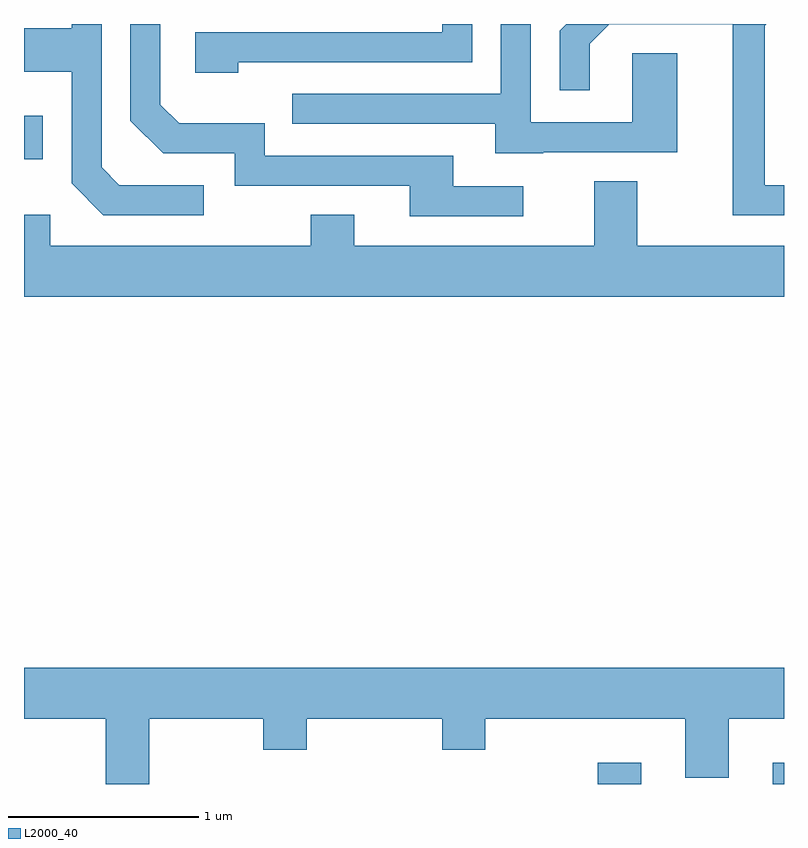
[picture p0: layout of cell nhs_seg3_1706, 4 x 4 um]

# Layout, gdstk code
import gdstk
lib = gdstk.Library(unit=1e-6, precision=1e-09)
def R(c, l, rs):  # rectangles x0, y0, x1, y1
    for r in rs: c.add(gdstk.rectangle(r[:2], r[2:], *l))
def P(c, l, *ps):  # polygons
    for p in ps: c.add(gdstk.Polygon(p, *l))
L2000_40 = (2000, 40)

nhs_seg3_1706 = lib.new_cell('nhs_seg3_1706')
R(nhs_seg3_1706, L2000_40, [(238.631,1127.892,238.859,1128.004), (239.551,1127.892,239.611,1128.004), (235.611,1131.181,235.709,1131.409)])
P(nhs_seg3_1706, L2000_40, [(238.238,1131.039),(237.869,1131.039),(237.869,1131.199),(236.879,1131.199),(236.879,1131.369),(236.427,1131.369),(236.329,1131.467),(236.329,1131.892),(236.171,1131.892),(236.171,1131.384),(236.344,1131.211),(236.721,1131.211),(236.721,1131.041),(237.641,1131.041),(237.641,1130.881),(238.238,1130.881)],
  [(239.611,1131.044),(239.509,1131.044),(239.509,1131.884),(239.517,1131.892),(238.466,1131.892),(238.431,1131.857),(238.431,1131.543),(238.589,1131.543),(238.589,1131.789),(238.692,1131.891),(239.341,1131.891),(239.341,1130.886),(239.611,1130.886)],
  [(236.558,1131.044),(236.112,1131.044),(236.019,1131.137),(236.019,1131.892),(235.861,1131.892),(235.861,1131.869),(235.611,1131.869),(235.611,1131.641),(235.861,1131.641),(235.861,1131.054),(236.029,1130.886),(236.558,1130.886)],
  [(238.345,1131.216),(239.049,1131.216),(239.049,1131.739),(238.811,1131.739),(238.811,1131.374),(238.279,1131.374),(238.279,1131.892),(238.121,1131.892),(238.121,1131.524),(237.023,1131.524),(237.023,1131.366),(238.091,1131.366),(238.091,1131.211),(238.345,1131.211)],
  [(236.739,1131.691),(237.969,1131.691),(237.969,1131.892),(237.811,1131.892),(237.811,1131.849),(236.511,1131.849),(236.511,1131.636),(236.739,1131.636)],
  [(239.611,1130.724),(238.839,1130.724),(238.839,1131.064),(238.611,1131.064),(238.611,1130.724),(237.349,1130.724),(237.349,1130.889),(237.121,1130.889),(237.121,1130.724),(235.749,1130.724),(235.749,1130.889),(235.611,1130.889),(235.611,1130.456),(239.611,1130.456)],
  [(236.269,1128.236),(236.871,1128.236),(236.871,1128.071),(237.099,1128.071),(237.099,1128.236),(237.811,1128.236),(237.811,1128.071),(238.039,1128.071),(238.039,1128.236),(239.091,1128.236),(239.091,1127.926),(239.319,1127.926),(239.319,1128.236),(239.611,1128.236),(239.611,1128.504),(235.611,1128.504),(235.611,1128.236),(236.041,1128.236),(236.041,1127.892),(236.269,1127.892)])

lib.write_gds('nhs_seg3_1706.gds')
